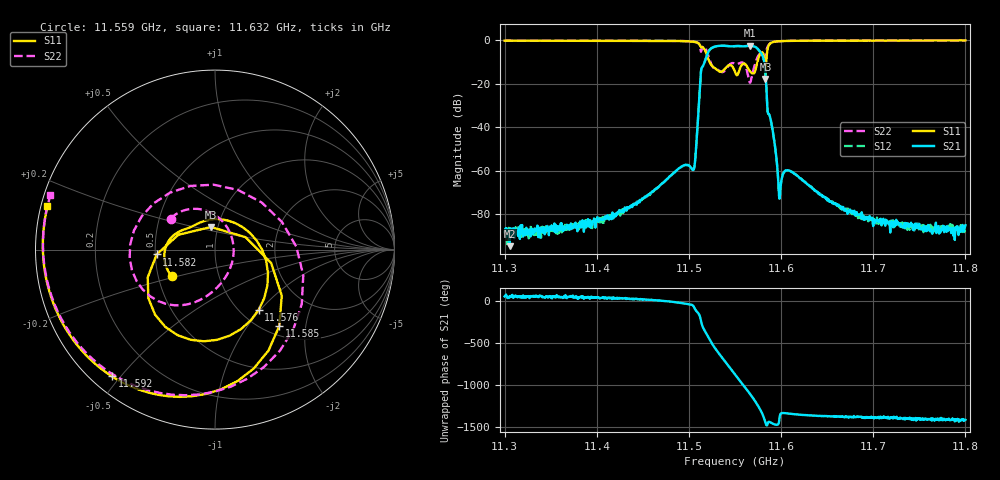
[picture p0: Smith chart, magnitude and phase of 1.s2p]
# Hz S DB R 50
! Planar, S50244, 24171007, 25.4.1/6
! Date: 15.10.2025 10:23:33
! Data: Format (Calibration Info)
! Freq	S11:dB/Ang(F2)	S21:dB/Ang(F2)	S12:dB/Ang(F2)	S22:dB/Ang(F2)
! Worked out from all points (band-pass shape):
!   1001 points, 11.3 GHz to 11.8 GHz, reference 50 ohm
!   highest |S21| = -2.63 dB at 11.566 GHz (marker M1); lowest = -94.8 dB at 11.306 GHz (marker M2)
!   |S21| within 3 dB of the highest: 11.52094 GHz to 11.57767 GHz (56.72 MHz wide, 0.491 % of centre)
!   lowest |S11| = -17.9 dB at 11.583 GHz (marker M3), VSWR 1.29, Z = 46.3 + j11.9 ohm
!   |S11| at or under -10 dB: 11.52225 GHz to 11.5744 GHz (52.14 MHz wide, 0.452 % of centre); 11.58204 GHz to 11.58398 GHz (1.946 MHz wide, 0.0168 % of centre)
!   |S22| runs from -19.6 to -0.2 dB; largest |S21 - S12| = 0.013
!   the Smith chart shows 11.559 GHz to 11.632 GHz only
!   S11 on the Smith chart (normalised r, x): 11.559 GHz: 0.59, -0.19; 11.576 GHz: 1.21, -0.98; 11.582 GHz: 0.51, -0.03; 11.585 GHz: 1.16, -1.44; 11.592 GHz: 0.06, -0.47; 11.632 GHz: 0.02, +0.13
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1.13e10  -0.32 145.2  -88.09 49.8  -89.13 44.0  -0.32 142.9
1.13055e10  -0.32 144.2  -94.76 54.0  -89.12 94.1  -0.31 141.9
1.13835e10  -0.33 126.9  -85.32 51.3  -85.34 42.2  -0.32 125.6
1.1467e10  -0.37 89.4  -67.63 2.1  -67.50 1.4  -0.35 90.8
1.15045e10  -0.81 19.4  -59.77 -60.9  -59.80 -60.0  -0.73 28.8
1.1515e10  -3.32 -61.0  -12.16 49.1  -12.11 49.8  -3.05 -19.5
1.15275e10  -12.76 46.1  -3.10 171.0  -3.19 170.7  -13.00 124.3
1.1533e10  -14.45 -37.4  -2.69 88.3  -2.71 88.6  -14.16 34.4
1.15395e10  -12.99 -143.4  -2.71 -3.8  -2.65 -3.9  -13.80 -55.6
1.155e10  -14.65 56.6  -2.77 -151.6  -2.89 -152.2  -10.84 -168.4
1.15585e10  -10.93 -148.5  -2.91 86.6  -2.94 86.9  -10.42 145.0
1.1566e10  -14.32 141.7  -2.63 -18.9  -2.58 -19.1  -19.57 12.0
1.1576e10  -7.66 -53.9  -4.66 177.6  -4.85 177.7  -6.74 -151.0
1.1582e10  -9.74 -175.3  -10.77 32.8  -10.66 33.4  -8.65 45.3
1.1583e10  -17.86 100.2  -14.72 -2.6  -14.63 -2.7  -6.86 1.9
1.1585e10  -5.09 -50.0  -30.21 -29.8  -30.26 -30.0  -3.48 -57.3
1.15925e10  -0.82 -129.1  -46.03 -22.1  -46.05 -21.9  -0.86 -133.1
1.1599e10  -0.53 -151.6  -69.92 92.3  -69.70 92.2  -0.54 -156.3
1.16315e10  -0.32 165.5  -67.29 83.4  -67.20 81.3  -0.30 161.8
1.16335e10  -0.31 164.1  -68.02 79.9  -67.94 82.3  -0.30 160.4
1.1717e10  -0.25 130.7  -83.64 48.0  -84.44 47.5  -0.23 128.7
1.18e10  -0.22 112.9  -85.14 29.8  -86.57 45.4  -0.21 111.8
